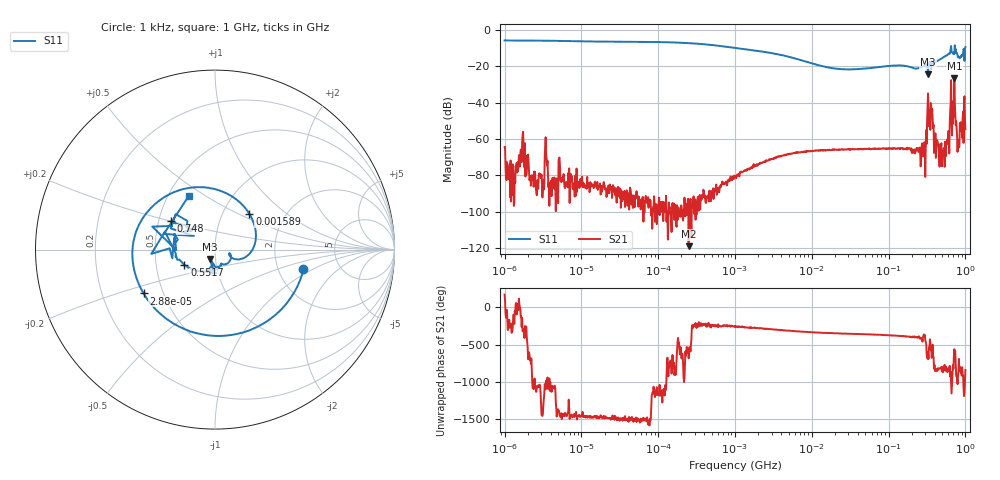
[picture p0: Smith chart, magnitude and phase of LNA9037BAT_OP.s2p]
! ListType=Log
# MHZ S RI R 50
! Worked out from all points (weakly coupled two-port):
!   1000 points, 1 kHz to 1 GHz, reference 50 ohm
!   highest |S21| = -26.62 dB at 717.6 MHz (marker M1); lowest = -118.9 dB at 249.1 kHz (marker M2)
!   lowest |S11| = -24.6 dB at 326.2 MHz (marker M3), VSWR 1.13, Z = 47.1 - j4.98 ohm
!   |S11| at or under -10 dB: 995.7 kHz to 645.6 MHz (644.6 MHz wide, 199 % of centre); 654.5 MHz to 724.5 MHz (70.09 MHz wide, 10.2 % of centre); 732.9 MHz to 993.8 MHz (260.9 MHz wide, 30.2 % of centre)
!   S12 and S22 are empty: the file has one direction only
!   S11 on the Smith chart (normalised r, x): 1 kHz: 2.76, -0.82; 28.8 kHz: 0.39, -0.24; 1.589 MHz: 1.33, +0.57; 551.7 MHz: 0.70, -0.13; 748 MHz: 0.58, +0.20; 1 GHz: 0.63, +0.42
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0.001  0.4928 -0.1107  -0.000588 9.66e-05  0 0  0 0
0.0013005  0.4841 -0.1428  -2.17e-05 -0.000116  0 0  0 0
0.0017149  0.4684 -0.1841  0.000967 0.0008  0 0  0 0
0.0022302  0.4438 -0.2338  7.24e-05 4.77e-05  0 0  0 0
0.003569  0.3628 -0.3398  0.000186 -5.9e-06  0 0  0 0
0.0100694  -0.053 -0.4757  8.38e-05 -5.6e-06  0 0  0 0
0.0288044  -0.3981 -0.244  6.1e-06 -1.68e-05  0 0  0 0
0.1013925  -0.4548 0.0426  -2.1e-06 -1.82e-05  0 0  0 0
0.249113  -0.3612 0.2276  9e-07 7e-07  0 0  0 0
1.006939  0.0804 0.3049  -8.6e-06 9.2e-05  0 0  0 0
1.589283  0.1913 0.1994  8.7e-06 0.000162  0 0  0 0
10.13925  0.1062 -0.0514  0.000418 0.000208  0 0  0 0
100.6939  0.0885 -0.0482  0.000535 -0.000128  0 0  0 0
280.1867  0.0263 -0.0934  0.000329 -0.000223  0 0  0 0
326.2222  -0.027 -0.0527  -0.00899 0.0153  0 0  0 0
344.7764  -0.00976 -0.1277  0.00229 -0.0058  0 0  0 0
551.7492  -0.1706 -0.0865  -0.000201 -0.00026  0 0  0 0
678.9407  -0.2273 0.064  -0.00946 -0.00498  0 0  0 0
717.5561  -0.2165 -0.00237  -0.0437 0.0164  0 0  0 0
747.9523  -0.246 0.1575  0.00169 -0.00168  0 0  0 0
823.9786  -0.1427 0.1053  0.000508 0.000292  0 0  0 0
1000  -0.147 0.2979  -0.000877 -0.00163  0 0  0 0
